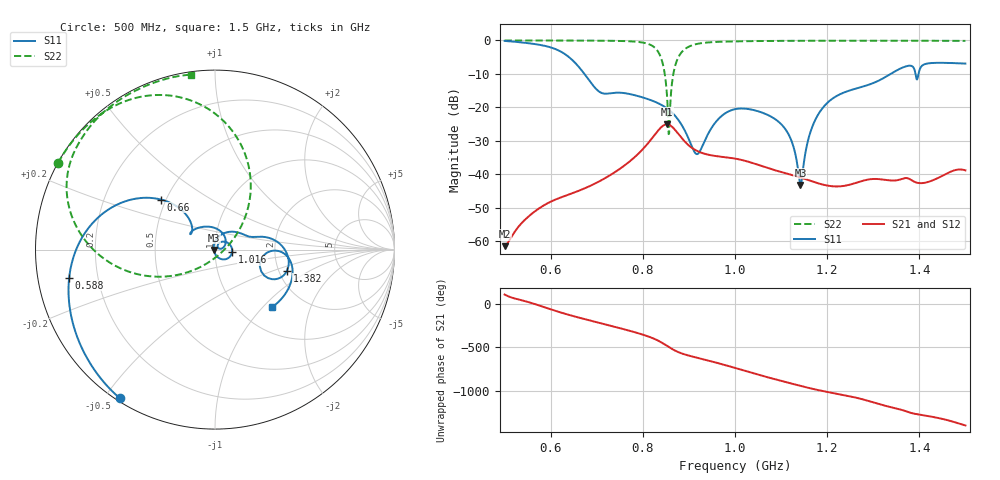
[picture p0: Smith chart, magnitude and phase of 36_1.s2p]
! TOUCHSTONE file generated by CST MICROWAVE STUDIO
! Date and time: Mon Oct 26 12:09:53 2020
! Project name: Scenario_1_Circular_Tissue_out_of_Line_v2.cst
! Parameters = {dy1=259.5; L_HA=400; MT=2.54; Rad_Dielectric=30; Rad_Lower=7.3; Rad_Upper=30; a_HA=580; a_WG=246; b_HA=500; b_WG=121; c_HA=0; c_WG=187; d_feed=85; dx1=173; h_feed=15; h_lower=18; h_upper=40}
! Header version: 2018
! Port assignment regex: !\s*Touchstone port\s*([0-9]+)\s*=\s*(CST MWS port|CST DS port)\s*([0-9]+|Zmin|Zmax)\s*\(\"(.*)\"\)(\s*mode\s*([0-9]+))?.*
! Touchstone port assignment:
! Touchstone port 1 = CST MWS port 1 ("")
! Touchstone port 2 = CST MWS port 2 ("")
# GHz S DB R 50
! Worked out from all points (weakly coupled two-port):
!   1003 points, 500 MHz to 1.5 GHz, reference 50 ohm
!   highest |S21| = -25.06 dB at 852 MHz (marker M1); lowest = -61.5 dB at 500 MHz (marker M2)
!   lowest |S11| = -43.2 dB at 1.142 GHz (marker M3), VSWR 1.01, Z = 49.3 - j0.158 ohm
!   |S11| at or under -10 dB: 673.2 MHz to 1.338 GHz (664.7 MHz wide, 66.1 % of centre); 1.391722 GHz to 1.398179 GHz (6.457 MHz wide, 0.463 % of centre)
!   |S22| runs from -28.0 to 0.0 dB; largest |S21 - S12| = 3.4e-05
!   S11 on the Smith chart (normalised r, x): 500 MHz: 0.01, -0.55; 588 MHz: 0.10, -0.09; 660 MHz: 0.47, +0.32; 1.016 GHz: 1.21, -0.04; 1.382 GHz: 2.22, -0.63; 1.5 GHz: 1.39, -1.13
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0.5  -0.14 -122.5  -61.49 103.0  -61.49 103.0  -0.01 151.1
0.588  -1.65 -169.1  -49.07 -45.2  -49.07 -45.2  -0.02 145.0
0.66  -7.75 137.1  -44.99 -160.0  -44.99 -160.0  -0.04 139.0
0.667  -8.91 133.5  -44.60 -169.8  -44.60 -169.8  -0.04 138.3
0.709  -15.61 140.2  -41.86 133.4  -41.86 133.4  -0.07 133.7
0.779  -16.25 128.7  -35.28 35.9  -35.28 35.9  -0.32 120.4
0.834  -18.82 82.9  -26.81 -68.2  -26.81 -68.2  -3.57 81.2
0.845  -19.64 69.9  -25.38 -101.3  -25.38 -101.3  -8.04 59.8
0.852  -20.28 60.9  -25.06 -124.7  -25.06 -124.7  -15.70 37.7
0.858  -20.92 52.9  -25.27 -144.8  -25.27 -144.8  -23.84 -108.4
0.867  -22.09 40.7  -26.29 -172.4  -26.29 -172.4  -9.43 -153.4
0.882  -24.76 21.4  -28.80 151.8  -28.80 151.8  -3.91 -176.7
0.917  -33.98 32.5  -32.97 98.7  -32.97 98.7  -1.07 159.0
1  -20.54 5.3  -35.31 -19.4  -35.31 -19.4  -0.28 140.0
1.016  -20.35 -9.0  -35.77 -44.5  -35.77 -44.5  -0.25 138.0
1.105  -25.75 -65.2  -39.51 -174.1  -39.51 -174.1  -0.13 129.2
1.142  -43.23 -166.6  -40.98 134.9  -40.98 134.9  -0.11 126.2
1.167  -26.07 86.6  -42.11 102.5  -42.11 102.5  -0.10 124.2
1.213  -17.26 46.8  -43.61 52.4  -43.61 52.4  -0.09 120.6
1.334  -10.32 12.5  -41.81 -104.3  -41.81 -104.3  -0.08 111.4
1.382  -7.58 -16.3  -41.67 -175.6  -41.67 -175.6  -0.09 107.7
1.5  -6.92 -45.7  -38.83 40.7  -38.85 40.5  -0.14 97.8
